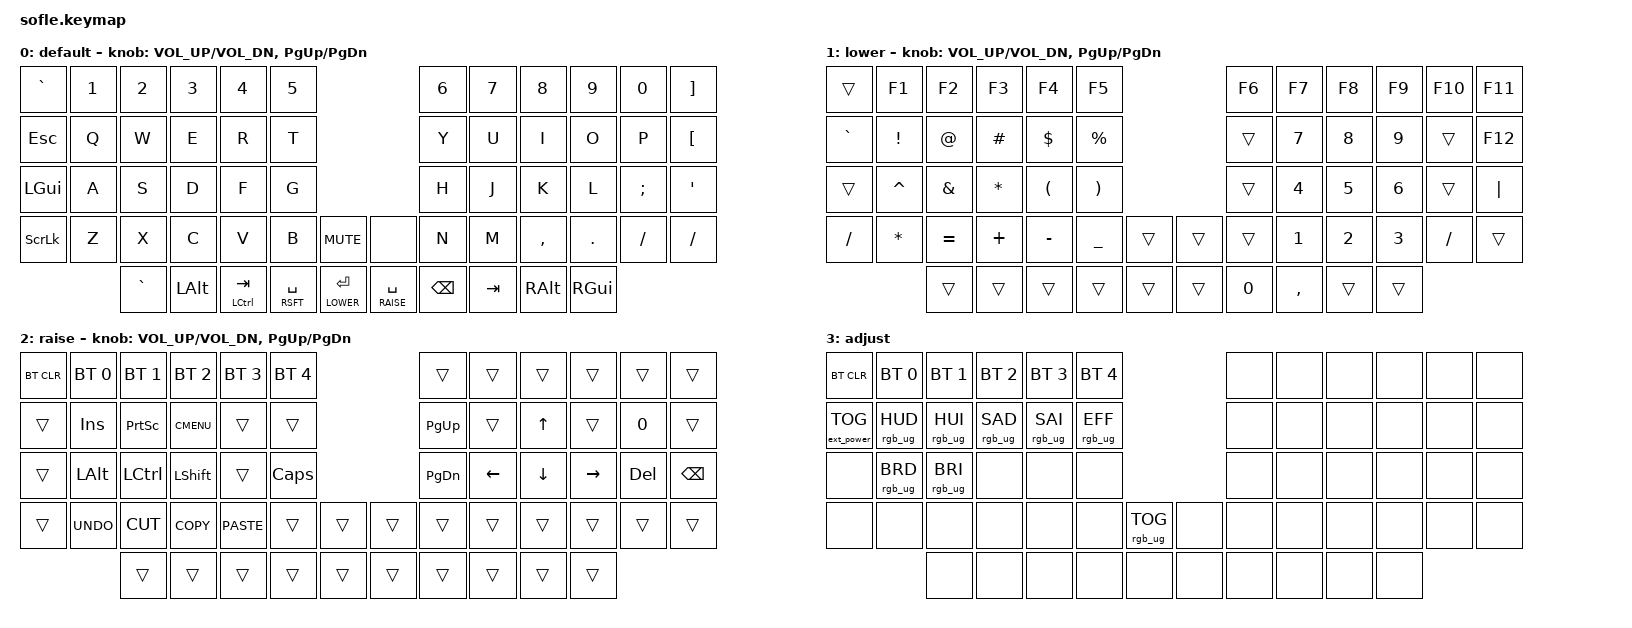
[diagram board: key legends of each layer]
/*
 * Copyright (c) 2020 The ZMK Contributors
 *
 * SPDX-License-Identifier: MIT
 */

#include <behaviors.dtsi>
#include <dt-bindings/zmk/keys.h>
#include <dt-bindings/zmk/bt.h>
#include <dt-bindings/zmk/rgb.h>
#include <dt-bindings/zmk/ext_power.h>

#define BASE 0
#define LOWER 1
#define RAISE 2
#define ADJUST 3



    // Modifier functions apply a modifier to a code:
    //     &kp LS(A) = LEFT_SHIFT+A (a capitalized A).
    // They can be combined:
    //     &kp LC(RA(B)) = LEFT_CONTROL+RIGHT_ALT+B
    // They can be applied to a modifier keycode to create combined modifier keys:
    //     &kp LS(LALT) = LEFT_SHIFT + LEFT_ALT
    // Some basic keycodes already include a modifier function in their definition:
    //     DOLLAR = LS(NUMBER_4)
    // There are left- and right-handed versions of each modifier (also see table in the list of keycodes):
    //     LS(x), LC(x), LA(x), LG(x), RS(x), RC(x), RA(x), RG(x)
    // Modified keys can safely be rolled-over. Modifier functions are released when another key is pressed.
    //     Press &kp LS(A), then press &kp B, release &kp LS(A) and release &kp B results in Ab. Only the A is capitalized.


/ {

   // Activate ADJUST layer by pressing raise and lower
    conditional_layers {
        compatible = "zmk,conditional-layers";
        adjust_layer {
            if-layers = <LOWER RAISE>;
            then-layer = <ADJUST>;
        };
    };

    keymap {
        compatible = "zmk,keymap";

        default_layer {
            display-name = "default";
// ------------------------------------------------------------------------------------------------------------
// |   `   |  1  |  2  |  3   |  4   |  5   |                   |  6   |  7    |  8    |  9   |   0   |       |
// |  ESC  |  Q  |  W  |  E   |  R   |  T   |                   |  Y   |  U    |  I    |  O   |   P   | BKSPC |
// |  TAB  |  A  |  S  |  D   |  F   |  G   |                   |  H   |  J    |  K    |  L   |   ;   |   '   |
// | SHIFT |  Z  |  X  |  C   |  V   |  B   |  MUTE  |  |       |  N   |  M    |  ,    |  .   |   /   | SHIFT |
//               | GUI | ALT  | CTRL | LOWER|  ENTER |  | SPACE | RAISE| CTRL  | ALT   | GUI  |
            bindings = <
&kp GRAVE &kp N1 &kp N2   &kp N3   &kp N4    &kp N5                           &kp N6 &kp N7    &kp N8    &kp N9   &kp N0   &kp RBKT
&kp ESC   &kp Q  &kp W    &kp E    &kp R     &kp T                            &kp Y  &kp U     &kp I     &kp O    &kp P    &kp LBKT
&kp LGUI  &kp A  &kp S    &kp D    &kp F     &kp G                            &kp H  &kp J     &kp K     &kp L    &kp SEMI &kp SQT
&kp SLCK &kp Z  &kp X    &kp C    &kp V     &kp B      &kp C_MUTE &none      &kp N  &kp M     &kp COMMA &kp DOT  &kp FSLH &kp SLASH
                 &kp GRAVE &kp LALT &mt LCTL TAB &mt RSFT SPACE  &lt LOWER RET    &lt RAISE SPACE  &kp BACKSPACE  &kp TAB &kp RALT  &kp RGUI
            >;

            sensor-bindings = <&inc_dec_kp C_VOL_UP C_VOL_DN &inc_dec_kp PG_UP PG_DN>;
        };

        lower_layer {
            display-name = "lower";
// TODO: Some binds are waiting for shifted keycode support.
// ------------------------------------------------------------------------------------------------------------
// |       |  F1 |  F2 |  F3  |  F4  |  F5  |                   |  F6  |  F7   |  F8   |  F9  |  F10  |  F11  |
// |   `   |  1  |  2  |  3   |  4   |  5   |                   |  6   |  7    |  8    |  9   |   0   |  F12  |
// |       |  !  |  @  |  #   |  $   |  %   |                   |  ^   |  &    |  *    |  (   |   )   |   |   |
// |       |  =  |  -  |  +   |  {   |  }   |        |  |       |  [   |  ]    |  ;    |  :   |   \   |       |
//               |     |      |      |      |        |  |       |      |       |       |      |
            bindings = <
&trans    &kp F1    &kp F2    &kp F3      &kp F4    &kp F5                    &kp F6    &kp F7   &kp F8    &kp F9    &kp F10   &kp F11
&kp GRAVE &kp EXCL  &kp AT    &kp HASH    &kp DLLR  &kp PRCNT                 &trans &kp N7   &kp N8    &kp N9    &trans &kp F12
&trans    &kp CARET  &kp AMPS  &kp STAR    &kp LPAR  &kp RPAR                 &trans &kp N4  &kp N5 &kp N6  &trans  &kp PIPE
&kp SLASH  &kp STAR &kp EQUAL &kp PLUS &kp MINUS  &kp UNDER   &trans &trans   &trans  &kp N1 &kp N2  &kp N3 &kp SLASH  &trans
                    &trans    &trans      &trans    &trans     &trans &trans  &kp N0    &kp COMMA  &trans    &trans
            >;

            sensor-bindings = <&inc_dec_kp C_VOL_UP C_VOL_DN &inc_dec_kp PG_UP PG_DN>;
        };

        raise_layer {
            display-name = "raise";
// ------------------------------------------------------------------------------------------------------------
// | BTCLR | BT1  | BT2  |  BT3  |  BT4  |  BT5 |                |      |      |       |      |       |       |
// |       | INS  | PSCR | GUI   |       |      |                | PGUP |      |   ^   |      |       |       |
// |       | ALT  | CTRL | SHIFT |       | CAPS |                | PGDN |   <- |   v   |  ->  |  DEL  | BKSPC |
// |       | UNDO | CUT  | COPY  | PASTE |      |      |  |      |      |      |       |      |       |       |
//                |      |       |       |      |      |  |      |      |      |       |      |
            bindings = <
&bt BT_CLR &bt BT_SEL 0 &bt BT_SEL 1 &bt BT_SEL 2 &bt BT_SEL 3 &bt BT_SEL 4                  &trans    &trans    &trans   &trans    &trans  &trans
&trans     &kp INS      &kp PSCRN    &kp K_CMENU  &trans       &trans                        &kp PG_UP &trans    &kp UP   &trans    &kp N0  &trans
&trans     &kp LALT     &kp LCTRL    &kp LSHFT    &trans       &kp CLCK                      &kp PG_DN &kp LEFT  &kp DOWN &kp RIGHT &kp DEL &kp BSPC
&trans     &kp K_UNDO   &kp K_CUT    &kp K_COPY   &kp K_PASTE  &trans        &trans  &trans  &trans    &trans    &trans   &trans    &trans  &trans
                        &trans       &trans       &trans       &trans        &trans  &trans  &trans    &trans    &trans   &trans
            >;

            sensor-bindings = <&inc_dec_kp C_VOL_UP C_VOL_DN &inc_dec_kp PG_UP PG_DN>;
        };

        adjust_layer {
// ----------------------------------------------------------------------------------------------------------------------------
// | BTCLR  |  BT1    |  BT2    |   BT3   |   BT4   |   BT5   |                  |      |      |       |      |       |       |
// | EXTPWR | RGB_HUD | RGB_HUI | RGB_SAD | RGB_SAI | RGB_EFF |                  |      |      |       |      |       |       |
// |        | RGB_BRD | RGB_BRI |         |         |         |                  |      |      |       |      |       |       |
// |        |         |         |         |         |         | RGB_TOG | |      |      |      |       |      |       |       |
//                    |         |         |         |         |         | |      |      |      |       |      |
            display-name = "adjust";
            bindings = <
&bt BT_CLR        &bt BT_SEL 0    &bt BT_SEL 1    &bt BT_SEL 2    &bt BT_SEL 3    &bt BT_SEL 4                            &none &none &none &none &none &none
&ext_power EP_TOG &rgb_ug RGB_HUD &rgb_ug RGB_HUI &rgb_ug RGB_SAD &rgb_ug RGB_SAI &rgb_ug RGB_EFF                         &none &none &none &none &none &none
&none             &rgb_ug RGB_BRD &rgb_ug RGB_BRI &none           &none           &none                                   &none &none &none &none &none &none
&none             &none           &none           &none           &none           &none            &rgb_ug RGB_TOG &none  &none &none &none &none &none &none
                                  &none           &none           &none           &none            &none           &none  &none &none &none &none
            >;
        };

    };
};
